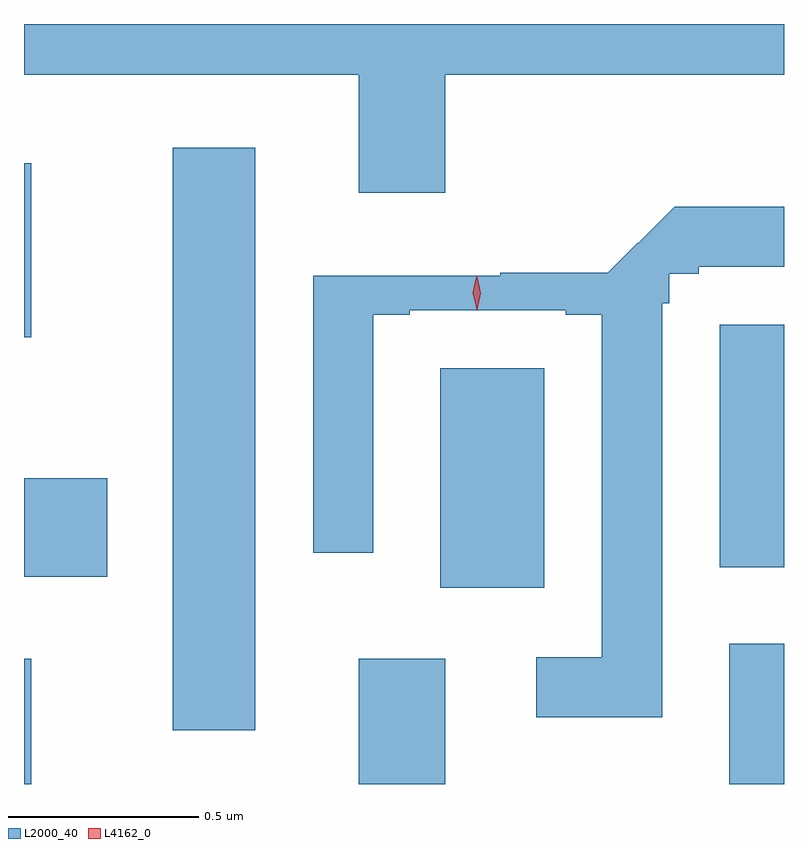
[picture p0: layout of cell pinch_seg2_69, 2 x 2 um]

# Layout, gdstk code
import gdstk
lib = gdstk.Library(unit=1e-6, precision=1e-09)
def R(c, l, rs):  # rectangles x0, y0, x1, y1
    for r in rs: c.add(gdstk.rectangle(r[:2], r[2:], *l))
def P(c, l, *ps):  # polygons
    for p in ps: c.add(gdstk.Polygon(p, *l))
L2000_40 = (2000, 40)
L4162_0 = (4162, 0)

pinch_seg2_69 = lib.new_cell('pinch_seg2_69')
R(pinch_seg2_69, L2000_40, [(1117.705,1095.29,1117.724,1095.619), (1118.586,1095.29,1118.814,1095.619), (1119.561,1095.29,1119.705,1095.659), (1118.096,1095.431,1118.314,1096.964), (1118.801,1095.806,1119.074,1096.384), (1117.705,1095.836,1117.924,1096.094), (1119.536,1095.861,1119.705,1096.499), (1117.705,1096.466,1117.724,1096.924)])
P(pinch_seg2_69, L2000_40, [(1118.814,1097.156),(1119.705,1097.156),(1119.705,1097.29),(1117.705,1097.29),(1117.705,1097.156),(1118.586,1097.156),(1118.586,1096.846),(1118.814,1096.846)],
  [(1119.384,1096.555),(1119.403,1096.555),(1119.403,1096.633),(1119.48,1096.633),(1119.48,1096.651),(1119.705,1096.651),(1119.705,1096.809),(1119.418,1096.809),(1119.322,1096.713),(1119.32,1096.715),(1119.241,1096.636),(1118.958,1096.636),(1118.958,1096.627),(1118.466,1096.627),(1118.466,1095.898),(1118.624,1095.898),(1118.624,1096.525),(1118.72,1096.525),(1118.72,1096.537),(1119.13,1096.537),(1119.13,1096.525),(1119.226,1096.525),(1119.226,1095.624),(1119.053,1095.624),(1119.053,1095.466),(1119.384,1095.466)])
P(pinch_seg2_69, L4162_0, [(1118.897,1096.537),(1118.896,1096.538),(1118.887,1096.582),(1118.896,1096.626),(1118.897,1096.627),(1118.898,1096.626),(1118.907,1096.582),(1118.898,1096.538)],
  [(1118.896,1096.544),(1118.896,1096.545),(1118.886,1096.582),(1118.894,1096.62),(1118.894,1096.621),(1118.895,1096.62),(1118.906,1096.583),(1118.897,1096.545)])

lib.write_gds('pinch_seg2_69.gds')
